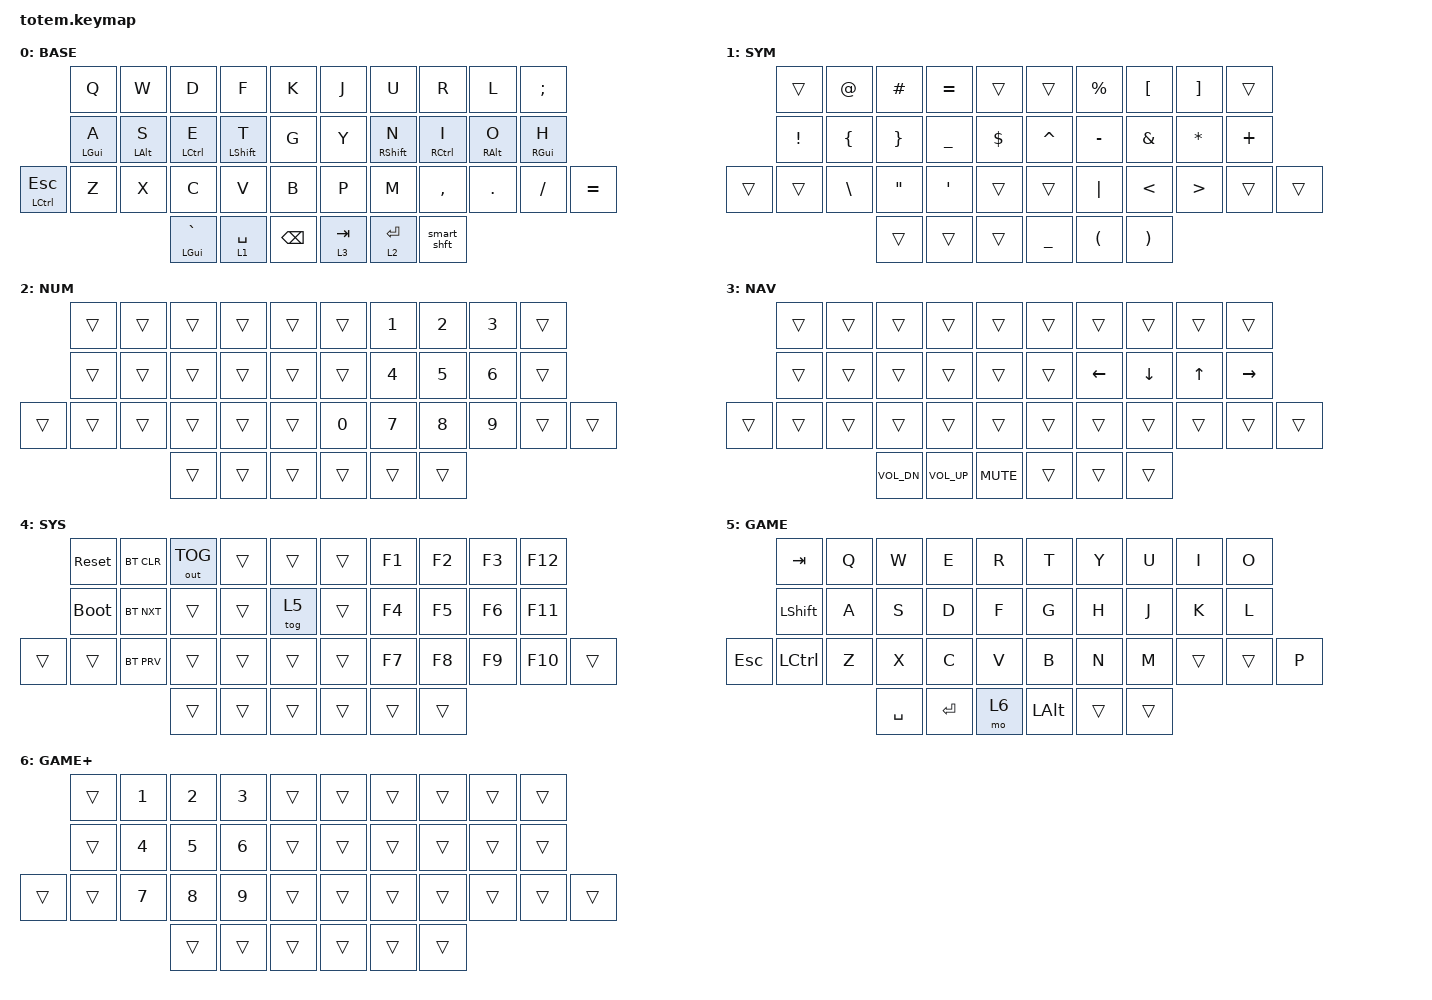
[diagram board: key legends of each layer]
//
//                                                        ▀▀▀▀▀     ▀▀▀▀▀          ▀▀█▀▀
//                                                        ▄▀▀▀▄  ▄  ▄▀▀▀▄  ▄  ▄▀▀▀▄  █  ▄▀▀▀▄
//                                                        █   █  █  █   █  █  █   █  █  █   █
//                                                         ▀▀▀   █   ▀▀▀   █   ▀▀▀   ▀   ▀▀▀
//                                                               █      ▄▄▄█▄▄▄    █   █  
//                                                               ▀      █  █  █     █▄█
//                                                             ▀▀▀▀▀    █  █  █      ▀
//                                                                      ▀  ▀  ▀
//
// ▄▄▄▄▄▄▄▄▄▄▄▄▄▄▄▄▄▄▄▄▄▄▄▄▄▄▄▄▄▄▄▄▄▄▄▄▄▄▄▄▄▄▄▄▄▄▄▄▄▄▄▄▄▄▄▄▄▄▄▄▄▄▄▄▄▄▄▄▄▄▄▄▄▄▄▄▄▄▄▄▄▄▄▄▄▄▄▄▄▄▄▄▄▄▄▄▄▄▄▄▄▄▄▄▄▄▄▄▄▄▄▄▄▄▄▄▄▄▄▄▄▄▄▄▄▄▄▄▄▄▄▄▄▄▄▄▄▄▄▄▄▄▄▄▄▄▄▄▄

#include <behaviors.dtsi>
#include <dt-bindings/zmk/bt.h>
#include <dt-bindings/zmk/keys.h>
#include <dt-bindings/zmk/outputs.h>

#define BASE 0
#define NAV  1
#define SYM  2
#define ADJ  3

&sk {
    release-after-ms = <900>;  // release after 0.6s
    quick-release;             // no double capitalization when rolling keys
};

&sl {
    ignore-modifiers;          // allow chording sticky mods & layers
};

&lt {
    flavor = "balanced";
    tapping-term-ms = <200>;
    quick-tap-ms = <175>;
};

/ {
    combos {
        compatible = "zmk,combos";

        combo_esc {
            timeout-ms = <50>;
            key-positions = <0 1>;
            bindings = <&kp ESC>;
        };
    };

    behaviors {
        hml: hml {
            compatible = "zmk,behavior-hold-tap";
            label = "HML";
            bindings = <&kp>, <&kp>;

            #binding-cells = <2>;
            tapping-term-ms = <280>;
            quick-tap-ms = <175>;
            require-prior-idle-ms = <150>;
            flavor = "balanced";
            hold-trigger-key-positions = <5 6 8 9 16 17 18 19 27 28 29 30 31 36 37 15 26 35 7>;
            hold-trigger-on-release;
        };

        hmr: hmr {
            compatible = "zmk,behavior-hold-tap";
            label = "HMR";
            bindings = <&kp>, <&kp>;

            #binding-cells = <2>;
            tapping-term-ms = <280>;
            quick-tap-ms = <175>;
            require-prior-idle-ms = <180>;
            flavor = "balanced";
            hold-trigger-on-release;
            hold-trigger-key-positions = <0 1 2 3 4 10 11 12 13 14 20 21 22 23 24 25 32 33 34>;
        };

        smart_shft: smart_shft {
            compatible = "zmk,behavior-mod-morph";
            label = "SMART_SHFT";
            bindings = <&sk LSHFT>, <&caps_word>;

            #binding-cells = <0>;
            mods = <(MOD_LSFT)>;
        };
    };

    keymap {
        compatible = "zmk,keymap";

        // ▄▄▄▄▄▄▄▄▄▄▄▄▄▄▄▄▄▄▄▄▄▄▄▄▄▄▄▄▄▄▄▄▄▄▄▄▄▄▄▄▄▄▄▄▄▄▄▄▄▄▄▄▄▄▄▄▄▄▄▄▄▄▄▄▄▄▄▄▄▄▄▄▄▄▄▄▄▄▄▄▄▄▄▄▄▄▄▄▄▄▄▄▄▄▄▄▄▄▄▄▄▄▄▄▄▄▄▄▄▄▄▄▄▄▄▄▄▄▄▄▄▄▄▄▄▄▄▄▄▄▄▄▄▄▄▄▄▄▄▄▄▄▄▄▄▄▄▄▄

        base_layer {
            label = "BASE";
            bindings = <
                  &kp Q        &kp W        &kp D           &kp F         &kp K            &kp J      &kp U         &kp R         &kp L        &kp SEMI
                  &hml LGUI A  &hml LALT S  &hml LCTRL E    &hml LSHFT T  &kp G            &kp Y      &hmr RSHFT N  &hmr RCTRL I  &hmr RALT O  &hmr RGUI H
&mt LCTRL ESCAPE  &kp Z        &kp X        &kp C           &kp V         &kp B            &kp P      &kp M         &kp COMMA     &kp DOT      &kp FSLH     &kp EQUAL
                                            &mt LGUI GRAVE  &lt 1 SPACE   &kp BACKSPACE    &lt 3 TAB  &lt 2 ENTER   &smart_shft
            >;
        };

        sym_layer {
            label = "SYM";
            bindings = <
        &trans    &kp AT    &kp HASH  &kp EQUAL       &trans        &trans     &kp PERCENT  &kp LBKT  &kp RBKT  &trans
        &kp EXCL  &kp LBRC  &kp RBRC  &kp UNDERSCORE  &kp DOLLAR    &kp CARET  &kp MINUS    &kp AMPS  &kp STAR  &kp PLUS
&trans  &trans    &kp BSLH  &kp DQT   &kp SQT         &trans        &trans     &kp PIPE     &kp LT    &kp GT    &trans    &trans
                            &trans    &trans          &trans        &kp UNDER  &kp LPAR     &kp RPAR
            >;
        };

        num_layer {
            label = "NUM";
            bindings = <
        &trans  &trans  &trans  &trans  &trans    &trans  &kp N1  &kp N2  &kp N3  &trans
        &trans  &trans  &trans  &trans  &trans    &trans  &kp N4  &kp N5  &kp N6  &trans
&trans  &trans  &trans  &trans  &trans  &trans    &kp N0  &kp N7  &kp N8  &kp N9  &trans  &trans
                        &trans  &trans  &trans    &trans  &trans  &trans
            >;
        };

        nav_layer {
            label = "NAV";
            bindings = <
        &trans  &trans  &trans        &trans        &trans        &trans  &trans    &trans    &trans  &trans
        &trans  &trans  &trans        &trans        &trans        &trans  &kp LEFT  &kp DOWN  &kp UP  &kp RIGHT
&trans  &trans  &trans  &trans        &trans        &trans        &trans  &trans    &trans    &trans  &trans     &trans
                        &kp C_VOL_DN  &kp C_VOL_UP  &kp C_MUTE    &trans  &trans    &trans
            >;
        };

        sys_layer {
            label = "SYS";
            bindings = <
        &sys_reset   &bt BT_CLR  &out OUT_TOG  &trans  &trans    &trans  &kp F1  &kp F2  &kp F3  &kp F12
        &bootloader  &bt BT_NXT  &trans        &trans  &tog 5    &trans  &kp F4  &kp F5  &kp F6  &kp F11
&trans  &trans       &bt BT_PRV  &trans        &trans  &trans    &trans  &kp F7  &kp F8  &kp F9  &kp F10  &trans
                                 &trans        &trans  &trans    &trans  &trans  &trans
            >;
        };

        game_layer {
            bindings = <
         &kp TAB    &kp Q  &kp W      &kp E      &kp R    &kp T     &kp Y   &kp U   &kp I   &kp O
         &kp LSHFT  &kp A  &kp S      &kp D      &kp F    &kp G     &kp H   &kp J   &kp K   &kp L
&kp ESC  &kp LCTRL  &kp Z  &kp X      &kp C      &kp V    &kp B     &kp N   &kp M   &trans  &trans  &kp P
                           &kp SPACE  &kp ENTER  &mo 6    &kp LALT  &trans  &trans
            >;

            label = "GAME";
        };

        game2_layer {
            bindings = <
        &trans  &kp N1  &kp N2  &kp N3  &trans    &trans  &trans  &trans  &trans  &trans
        &trans  &kp N4  &kp N5  &kp N6  &trans    &trans  &trans  &trans  &trans  &trans
&trans  &trans  &kp N7  &kp N8  &kp N9  &trans    &trans  &trans  &trans  &trans  &trans  &trans
                        &trans  &trans  &trans    &trans  &trans  &trans
            >;

            label = "GAME+";
        };
    };

    conditional_layers {
        compatible = "zmk,conditional-layers";

        SYS {
            if-layers = <1 2>;
            then-layer = <4>;
        };
    };
};
